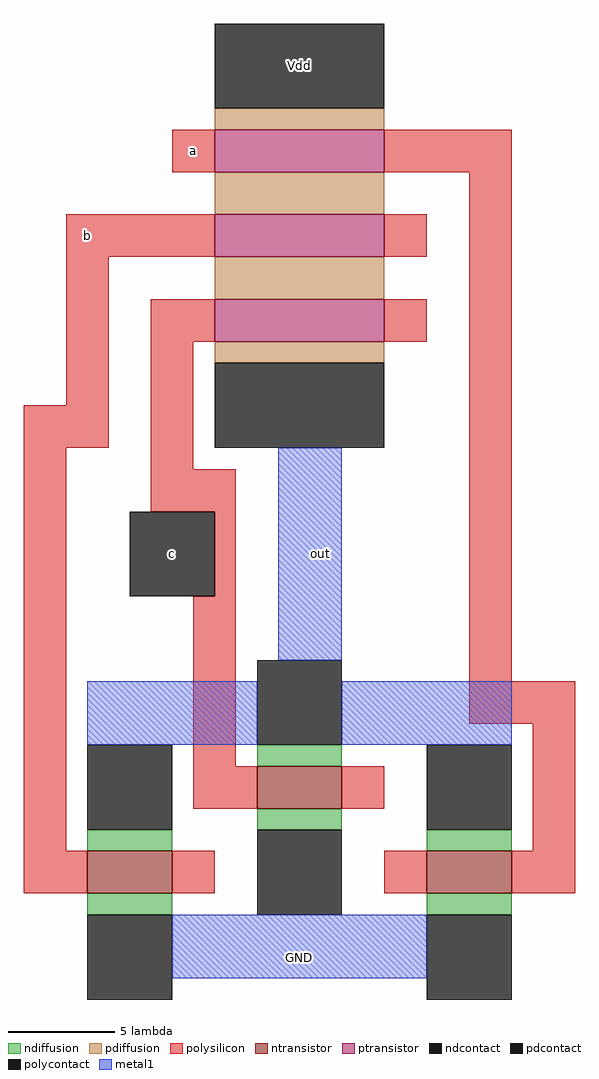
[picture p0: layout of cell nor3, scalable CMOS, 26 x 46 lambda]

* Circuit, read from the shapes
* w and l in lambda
.subckt nor3 GND Vdd a b c out
M1 out b GND VSUBS nfet w=4 l=2
M2 out c GND VSUBS nfet w=4 l=2
M3 out a GND VSUBS nfet w=4 l=2
M4 n1 c out NWELL pfet w=8 l=2
M5 n2 b n1 NWELL pfet w=8 l=2
M6 Vdd a n2 NWELL pfet w=8 l=2
.ends

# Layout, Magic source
magic
tech scmos
<< polysilicon >>
rect -2 13 0 15
rect 8 13 14 15
rect -7 9 0 11
rect 8 9 10 11
rect -7 2 -5 9
rect -9 0 -5 2
rect -3 5 0 7
rect 8 5 10 7
rect -9 -19 -7 0
rect -3 -1 -1 5
rect -3 -3 1 -1
rect 0 -7 1 -3
rect -1 -15 1 -7
rect 12 -11 14 13
rect 12 -13 17 -11
rect -1 -17 2 -15
rect 6 -17 8 -15
rect -9 -21 -6 -19
rect -2 -21 0 -19
rect 15 -19 17 -13
rect 8 -21 10 -19
rect 14 -21 17 -19
<< ndiffusion >>
rect 2 -15 6 -14
rect -6 -19 -2 -18
rect 2 -18 6 -17
rect -6 -22 -2 -21
rect 10 -19 14 -18
rect 10 -22 14 -21
<< pdiffusion >>
rect 0 15 8 16
rect 0 11 8 13
rect 0 7 8 9
rect 0 4 8 5
<< metal1 >>
rect 3 -10 6 0
rect -6 -14 2 -11
rect 6 -14 14 -11
rect -2 -25 10 -22
<< ntransistor >>
rect 2 -17 6 -15
rect -6 -21 -2 -19
rect 10 -21 14 -19
<< ptransistor >>
rect 0 13 8 15
rect 0 9 8 11
rect 0 5 8 7
<< polycontact >>
rect -4 -7 0 -3
<< ndcontact >>
rect -6 -18 -2 -14
rect 2 -14 6 -10
rect 2 -22 6 -18
rect 10 -18 14 -14
rect -6 -26 -2 -22
rect 10 -26 14 -22
<< pdcontact >>
rect 0 16 8 20
rect 0 0 8 4
<< labels >>
rlabel polycontact -2 -5 -2 -5 1 c
rlabel polysilicon -6 10 -6 10 3 b
rlabel polysilicon -1 14 -1 14 1 a
rlabel pdcontact 4 18 4 18 5 Vdd
rlabel metal1 4 -24 4 -24 1 GND
rlabel metal1 5 -5 5 -5 1 out
<< end >>
